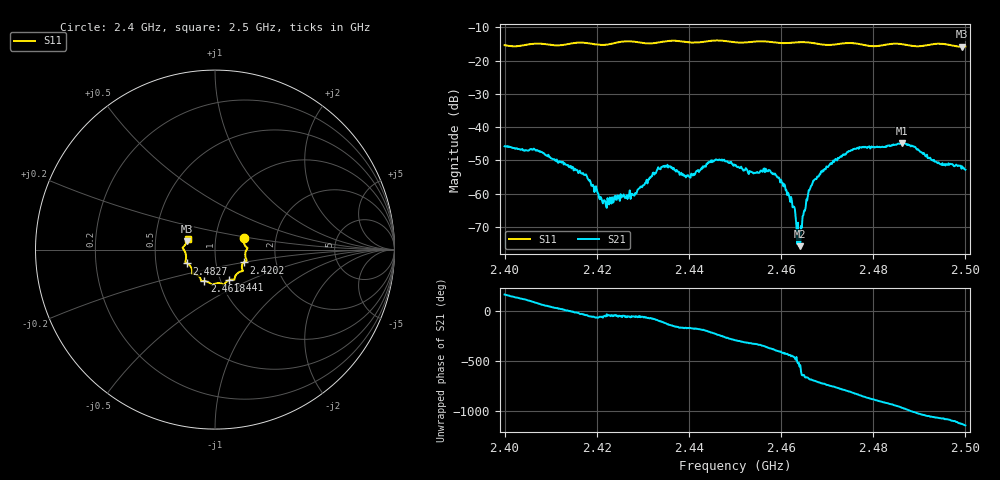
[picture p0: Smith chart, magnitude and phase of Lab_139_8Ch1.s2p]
# Hz S RI R 50
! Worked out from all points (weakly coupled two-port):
!   601 points, 2.4 GHz to 2.5 GHz, reference 50 ohm
!   highest |S21| = -44.79 dB at 2.4862 GHz (marker M1); lowest = -75.8 dB at 2.4642 GHz (marker M2)
!   lowest |S11| = -15.8 dB at 2.4992 GHz (marker M3), VSWR 1.39, Z = 36.4 + j3.61 ohm
!   |S11| at or under -10 dB: start of sweep to end of sweep
!   S12 and S22 are empty: the file has one direction only
!   S11 on the Smith chart (normalised r, x): 2.4 GHz: 1.37, +0.18; 2.4202 GHz: 1.36, -0.20; 2.441 GHz: 1.10, -0.39; 2.4618 GHz: 0.84, -0.30; 2.4827 GHz: 0.72, -0.11; 2.5 GHz: 0.73, +0.09
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2.4e9  0.1592 0.0629  -0.00505 0.00103  0 0  0 0
2.406833e9  0.1806 0.00895  0.000351 0.00441  0 0  0 0
2.416667e9  0.1773 -0.0608  0.00181 -0.000878  0 0  0 0
2.420167e9  0.159 -0.0716  0.000431 -0.00094  0 0  0 0
2.421667e9  0.1513 -0.0841  0.000558 -0.000565  0 0  0 0
2.427833e9  0.1531 -0.1196  0.000581 -0.000788  0 0  0 0
2.433333e9  0.1116 -0.1507  -0.0002 -0.00248  0 0  0 0
2.441e9  0.0787 -0.1698  -0.00197 -0.000205  0 0  0 0
2.445667e9  0.0505 -0.1948  -0.00216 0.00232  0 0  0 0
2.45e9  0.0286 -0.1873  0.000985 0.00246  0 0  0 0
2.457833e9  -0.0242 -0.1898  0.002 -0.000531  0 0  0 0
2.461833e9  -0.0591 -0.1756  0.000154 -0.000855  0 0  0 0
2.462667e9  -0.0659 -0.1753  -7.2e-05 -0.000634  0 0  0 0
2.463667e9  -0.0722 -0.1753  -0.000352 -9.58e-05  0 0  0 0
2.464167e9  -0.0741 -0.1751  -0.000162 7.28e-06  0 0  0 0
2.466667e9  -0.0788 -0.1682  0.00117 0.00066  0 0  0 0
2.474833e9  -0.1272 -0.134  0.000139 -0.00434  0 0  0 0
2.482667e9  -0.156 -0.0771  -0.00476 0.00195  0 0  0 0
2.483333e9  -0.1604 -0.0749  -0.00463 0.00254  0 0  0 0
2.486167e9  -0.165 -0.0659  -0.00187 0.00545  0 0  0 0
2.499167e9  -0.1551 0.0483  0.00145 -0.00187  0 0  0 0
2.5e9  -0.1523 0.0602  0.000797 -0.00215  0 0  0 0
